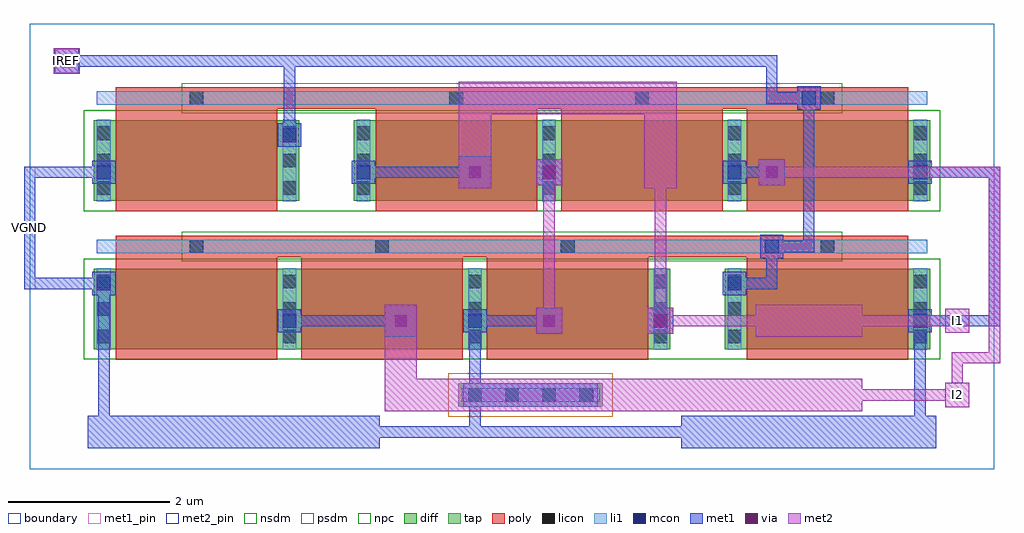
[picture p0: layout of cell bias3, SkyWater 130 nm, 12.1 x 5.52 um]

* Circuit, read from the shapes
.subckt bias3 I1 I2 IREF VGND
XM1 I2 IREF VGND VGND sky130_fd_pr__nfet_01v8 w=1 l=2 m=4
XM2 IREF IREF VGND VGND sky130_fd_pr__nfet_01v8 w=1 l=2 m=2
XM3 VGND IREF I1 VGND sky130_fd_pr__nfet_01v8 w=1 l=2 m=2
.ends

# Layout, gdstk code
import gdstk
lib = gdstk.Library(unit=1e-6, precision=1e-09)
def R(c, l, rs):  # rectangles x0, y0, x1, y1
    for r in rs: c.add(gdstk.rectangle(r[:2], r[2:], *l))
def A(c, l, x, y, w, h, nx, ny, dx, dy):  # array of equal rectangles
    R(c, l, [(x+i*dx, y+j*dy, x+i*dx+w, y+j*dy+h) for i in range(nx) for j in range(ny)])
diff = (65, 20)
tap = (65, 44)
poly = (66, 20)
licon = (66, 44)
li1 = (67, 20)
mcon = (67, 44)
met1_pin = (68, 16)
met1 = (68, 20)
via = (68, 44)
met2_pin = (69, 16)
met2 = (69, 20)
nsdm = (93, 44)
psdm = (94, 20)
npc = (95, 20)
boundary = (235, 4)

bias3 = lib.new_cell('bias3')
R(bias3, diff, [(0.795,1.485,7.945,2.485), (8.615,1.485,11.165,2.485), (0.795,3.325,3.345,4.325), (4.015,3.325,11.165,4.325)])
R(bias3, tap, [(5.315,0.775,7.105,1.065)])
A(bias3, poly, 1.07, 1.355, 2, 1.405, 3, 1, 2.3, 0)
A(bias3, poly, 4.29, 3.195, 2, 1.405, 3, 1, 2.3, 0)
R(bias3, poly, [(8.89,1.355,10.89,2.76), (1.07,2.625,10.89,2.895), (1.07,3.195,3.07,4.6), (1.07,4.465,10.89,4.735)])
A(bias3, licon, 5.435, 0.835, 0.17, 0.17, 4, 1, 0.46, 0)
A(bias3, licon, 0.835, 1.56, 0.17, 0.17, 4, 3, 2.3, 0.34)
A(bias3, licon, 8.655, 1.56, 0.17, 0.17, 1, 3, 0, 0.34)
A(bias3, licon, 10.955, 1.56, 0.17, 0.17, 1, 3, 0, 0.34)
A(bias3, licon, 1.985, 2.675, 0.17, 0.17, 3, 1, 2.3, 0)
A(bias3, licon, 0.835, 3.4, 0.17, 0.17, 1, 3, 0, 0.34)
A(bias3, licon, 3.135, 3.4, 0.17, 0.17, 1, 3, 0, 0.34)
A(bias3, licon, 4.055, 3.4, 0.17, 0.17, 4, 3, 2.3, 0.34)
A(bias3, licon, 5.205, 4.515, 0.17, 0.17, 3, 1, 2.3, 0)
R(bias3, licon, [(9.805,2.675,9.975,2.845), (1.985,4.515,2.155,4.685)])
A(bias3, li1, 0.835, 1.48, 0.17, 1.01, 4, 1, 2.3, 0)
A(bias3, li1, 4.055, 3.32, 0.17, 1.01, 4, 1, 2.3, 0)
R(bias3, li1, [(5.355,0.835,7.065,1.005), (8.655,1.48,8.825,2.49), (10.955,1.48,11.125,2.49), (0.835,2.675,11.125,2.845), (0.835,3.32,1.005,4.33), (3.135,3.32,3.305,4.33), (0.835,4.515,11.125,4.685)])
A(bias3, mcon, 5.435, 0.835, 0.17, 0.17, 4, 1, 0.46, 0)
A(bias3, mcon, 3.135, 1.755, 0.17, 0.17, 3, 1, 2.3, 0)
A(bias3, mcon, 4.055, 3.595, 0.17, 0.17, 4, 1, 2.3, 0)
R(bias3, mcon, [(10.955,1.755,11.125,1.925), (0.835,2.215,1.005,2.385), (8.655,2.215,8.825,2.385), (9.115,2.675,9.285,2.845), (0.835,3.595,1.005,3.765), (3.135,4.055,3.305,4.225), (9.575,4.515,9.745,4.685)])
R(bias3, met1_pin, [(-0.07,2.23,0.07,3.75)])
A(bias3, met1, 3.075, 1.695, 0.29, 0.29, 3, 1, 2.3, 0)
A(bias3, met1, 3.995, 3.535, 0.29, 0.29, 4, 1, 2.3, 0)
R(bias3, met1, [(0.72,0.26,4.34,0.66), (8.08,0.26,11.24,0.66), (0.85,0.39,0.99,2.37), (4.07,0.39,5.59,0.53), (5.45,0.39,5.59,0.99), (5.45,0.39,8.35,0.53), (10.97,0.39,11.11,1.91), (5.375,0.775,7.045,1.065), (5.45,0.85,5.59,0.99), (5.45,0.85,5.59,1.91), (4.4,1.64,4.8,2.04), (6.28,1.68,6.6,2), (7.66,1.68,7.98,2), (10.895,1.695,11.185,1.985), (3.15,1.77,4.67,1.91), (5.45,1.77,6.51,1.91), (10.97,1.77,12.03,1.91), (11.89,1.77,12.03,3.75), (0.775,2.155,1.065,2.445), (8.595,2.155,8.885,2.445), (-0.07,2.23,0.99,2.37), (-0.07,2.23,0.07,3.75), (8.67,2.23,9.27,2.37), (9.13,2.23,9.27,2.83), (9.055,2.615,9.345,2.905), (9.13,2.69,9.73,2.83), (9.59,2.69,9.73,4.67), (5.32,3.48,5.72,3.88), (6.28,3.52,6.6,3.84), (9.04,3.52,9.36,3.84), (0.775,3.535,1.065,3.825), (-0.07,3.61,0.99,3.75), (4.07,3.61,5.59,3.75), (8.67,3.61,9.27,3.75), (10.97,3.61,12.03,3.75), (3.075,3.995,3.365,4.285), (3.15,4.07,3.29,5.13), (9.515,4.455,9.805,4.745), (9.13,4.53,9.27,5.13), (9.13,4.53,9.73,4.67), (0.3,4.9,0.62,5.22), (0.39,4.99,3.29,5.13), (3.15,4.99,9.27,5.13)])
R(bias3, via, [(4.525,1.765,4.675,1.915), (6.365,1.765,6.515,1.915), (7.745,1.765,7.895,1.915), (5.445,3.605,5.595,3.755), (6.365,3.605,6.515,3.755), (9.125,3.605,9.275,3.755), (0.385,4.985,0.535,5.135)])
R(bias3, met2_pin, [(11.35,0.77,11.65,1.07), (11.35,1.69,11.65,1.99), (0.31,4.91,0.61,5.21)])
R(bias3, met2, [(4.4,0.72,4.8,2.04), (4.4,0.72,10.32,1.12), (11.35,0.77,11.65,1.07), (10.05,0.85,11.57,0.99), (11.43,0.85,11.57,0.99), (11.43,0.85,11.57,1.45), (11.43,1.31,12.03,1.45), (11.89,1.31,12.03,3.75), (4.4,1.64,4.8,2.04), (9,1.64,10.32,2.04), (6.28,1.68,6.6,2), (7.66,1.68,7.98,2), (11.35,1.69,11.65,1.99), (6.37,1.77,6.51,3.75), (7.75,1.77,7.89,3.75), (7.75,1.77,9.27,1.91), (10.05,1.77,11.57,1.91), (11.43,1.77,11.57,1.91), (5.32,3.48,5.72,4.8), (5.32,3.48,5.72,3.88), (7.62,3.48,8.02,4.8), (6.28,3.52,6.6,3.84), (9.04,3.52,9.36,3.84), (9.13,3.61,12.03,3.75), (5.32,4.4,8.02,4.8), (0.3,4.9,0.62,5.22), (0.31,4.91,0.61,5.21), (0.39,4.99,0.53,5.13)])
R(bias3, nsdm, [(0.67,1.36,11.29,2.61), (0.67,3.2,11.29,4.45)])
R(bias3, psdm, [(5.19,0.65,7.23,1.19)])
R(bias3, npc, [(1.885,2.575,10.075,2.945), (1.885,4.415,10.075,4.785)])
R(bias3, boundary, [(0,0,11.96,5.52)])
bias3.add(gdstk.Label('VGND', (0,2.99), layer=68, texttype=5))
bias3.add(gdstk.Label('IREF', (0.46,5.06), layer=69, texttype=5))
bias3.add(gdstk.Label('I1', (11.5,1.84), layer=69, texttype=5))
bias3.add(gdstk.Label('I2', (11.5,0.92), layer=69, texttype=5))
bias3.add(gdstk.Label('VGND', (0,2.99), layer=68, texttype=16))
bias3.add(gdstk.Label('IREF', (0.46,5.06), layer=69, texttype=16))
bias3.add(gdstk.Label('I1', (11.5,1.84), layer=69, texttype=16))
bias3.add(gdstk.Label('I2', (11.5,0.92), layer=69, texttype=16))

lib.write_gds('bias3.gds')
